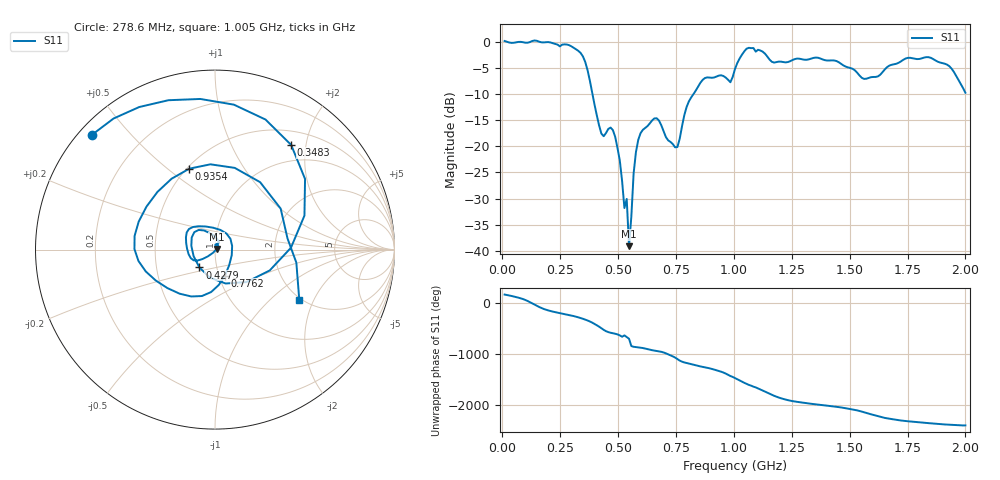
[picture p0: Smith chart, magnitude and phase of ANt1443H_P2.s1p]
!Created with skrf (http://scikit-rf.org).
# Hz S RI R 50.0
!freq ReS11 ImS11
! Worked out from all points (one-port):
!   201 points, 10 MHz to 2 GHz, reference 50 ohm
!   lowest |S11| = -39.1 dB at 547.3 MHz (marker M1), VSWR 1.02, Z = 51 + j0.426 ohm
!   |S11| at or under -10 dB: 389.3 MHz to 826.3 MHz (437.1 MHz wide, 71.9 % of centre)
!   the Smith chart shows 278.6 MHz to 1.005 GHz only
!   S11 on the Smith chart (normalised r, x): 278.6 MHz: 0.04, +0.39; 348.3 MHz: 0.71, +1.74; 427.9 MHz: 0.82, -0.17; 776.1 MHz: 1.07, -0.32; 935.4 MHz: 0.51, +0.60; 1.005 GHz: 1.95, -1.56
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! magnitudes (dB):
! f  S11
! 10 MHz  0.1
! 258.8 MHz  -0.6
! 278.6 MHz  -0.6
! 348.3 MHz  -2.8
! 427.9 MHz  -17.6
! 477.6 MHz  -16.9
! 507.5 MHz  -22.7
! 527.4 MHz  -31.8
! 537.4 MHz  -30.1
! 547.3 MHz  -39.1
! 567.2 MHz  -25.2
! 577.1 MHz  -21.1
! 597 MHz  -17.5
! 666.7 MHz  -14.7
! 756.2 MHz  -20.2
! 776.1 MHz  -16.2
! 806 MHz  -11.4
! 855.8 MHz  -7.9
! 935.4 MHz  -6.5
! 985.1 MHz  -7.8
! 1.005 GHz  -5.2
! 1.065 GHz  -1.2
! 1.254 GHz  -3.5
! 1.502 GHz  -5.0
! 1.572 GHz  -7.1
! 1.751 GHz  -3.1
! 1.92 GHz  -4.4
! 2 GHz  -9.8
